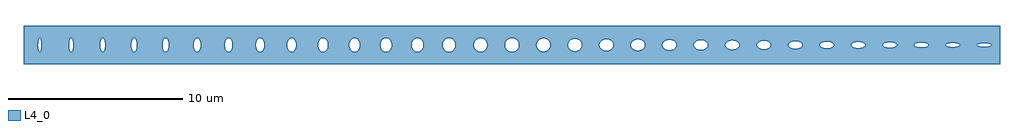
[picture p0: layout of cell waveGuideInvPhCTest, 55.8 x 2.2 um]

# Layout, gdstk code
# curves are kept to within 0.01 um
import gdstk
lib = gdstk.Library(unit=1e-6, precision=1e-09)
def P(c, l, *ps):  # polygons
    for p in ps: c.add(gdstk.Polygon(p, *l))
L4_0 = (4, 0)

waveguideinvphctest = lib.new_cell('waveGuideInvPhCTest')
P(waveguideinvphctest, L4_0, [(-32.9,2.9),(-32.9,3.6),(-31.984,3.605),(-31.929,3.717),(-31.9,4),(-31.911,4.182),(-31.941,4.324),(-31.984,4.395),(-32.016,4.395),(-32.059,4.324),(-32.081,4.235),(-32.099,3.937),(-32.059,3.676),(-32.031,3.62),(-32,3.6),(-32.9,3.6),(-32.9,5.1),(-31.1,5.1),(-31.1,2.9)],
  [(-31.1,2.9),(-31.1,3.601),(-30.191,3.601),(-30.156,3.628),(-30.112,3.728),(-30.08,4),(-30.092,4.174),(-30.125,4.313),(-30.173,4.39),(-30.209,4.399),(-30.244,4.372),(-30.288,4.272),(-30.32,4),(-30.288,3.728),(-30.244,3.628),(-30.209,3.601),(-31.1,3.601),(-31.1,5.1),(-29.3,5.1),(-29.3,2.9)],
  [(-29.3,2.9),(-29.3,3.6),(-28.38,3.604),(-28.324,3.663),(-28.294,3.738),(-28.26,4),(-28.273,4.166),(-28.308,4.302),(-28.361,4.384),(-28.42,4.396),(-28.476,4.337),(-28.506,4.262),(-28.534,4.113),(-28.539,3.943),(-28.492,3.698),(-28.458,3.636),(-28.4,3.6),(-29.3,3.6),(-29.3,5.1),(-27.5,5.1),(-27.5,2.9)],
  [(-27.5,2.9),(-27.5,3.601),(-26.567,3.608),(-26.526,3.645),(-26.476,3.748),(-26.44,4),(-26.463,4.208),(-26.508,4.327),(-26.567,4.392),(-26.633,4.392),(-26.692,4.327),(-26.737,4.208),(-26.759,3.946),(-26.737,3.792),(-26.709,3.708),(-26.654,3.623),(-26.611,3.601),(-27.5,3.601),(-27.5,5.1),(-25.7,5.1),(-25.7,2.9)],
  [(-25.7,2.9),(-25.7,3.6),(-24.777,3.603),(-24.71,3.654),(-24.657,3.756),(-24.62,4),(-24.644,4.2),(-24.69,4.317),(-24.753,4.386),(-24.823,4.397),(-24.89,4.346),(-24.943,4.244),(-24.98,4),(-24.966,3.847),(-24.927,3.717),(-24.869,3.63),(-24.8,3.6),(-25.7,3.6),(-25.7,5.1),(-23.9,5.1),(-23.9,2.9)],
  [(-23.9,2.9),(-23.9,3.601),(-22.963,3.607),(-22.893,3.662),(-22.854,3.726),(-22.814,3.853),(-22.8,4),(-22.814,4.147),(-22.873,4.308),(-22.915,4.362),(-22.963,4.393),(-23.037,4.393),(-23.107,4.338),(-23.146,4.274),(-23.186,4.147),(-23.2,4),(-23.186,3.853),(-23.146,3.726),(-23.085,3.638),(-23.013,3.601),(-23.9,3.601),(-23.9,5.1),(-22.1,5.1),(-22.1,2.9)],
  [(-22.1,2.9),(-22.1,3.6),(-21.2,3.6),(-21.147,3.612),(-21.075,3.671),(-21.035,3.735),(-20.994,3.858),(-20.98,4),(-21.005,4.186),(-21.075,4.329),(-21.122,4.374),(-21.173,4.397),(-21.253,4.388),(-21.325,4.329),(-21.381,4.227),(-21.414,4.096),(-21.418,3.952),(-21.395,3.814),(-21.346,3.701),(-21.278,3.626),(-21.2,3.6),(-22.1,3.6),(-22.1,5.1),(-20.3,5.1),(-20.3,2.9)],
  [(-20.3,2.9),(-20.3,3.601),(-19.358,3.606),(-19.28,3.654),(-19.216,3.743),(-19.174,3.863),(-19.16,4),(-19.174,4.137),(-19.235,4.291),(-19.331,4.383),(-19.386,4.399),(-19.442,4.394),(-19.52,4.346),(-19.584,4.257),(-19.626,4.137),(-19.64,4),(-19.626,3.863),(-19.565,3.709),(-19.495,3.633),(-19.414,3.601),(-20.3,3.601),(-20.3,5.1),(-18.5,5.1),(-18.5,2.9)],
  [(-18.5,2.9),(-18.5,3.6),(-17.542,3.61),(-17.462,3.661),(-17.397,3.751),(-17.355,3.868),(-17.34,4),(-17.366,4.174),(-17.438,4.313),(-17.542,4.39),(-17.658,4.39),(-17.762,4.313),(-17.82,4.213),(-17.853,4.089),(-17.858,3.955),(-17.834,3.826),(-17.784,3.717),(-17.686,3.622),(-17.6,3.6),(-18.5,3.6),(-18.5,5.1),(-16.7,5.1),(-16.7,2.9)],
  [(-16.7,2.9),(-16.7,3.601),(-15.785,3.601),(-15.725,3.615),(-15.643,3.669),(-15.577,3.758),(-15.535,3.872),(-15.52,4),(-15.546,4.168),(-15.619,4.305),(-15.696,4.372),(-15.755,4.395),(-15.875,4.385),(-15.957,4.331),(-16.023,4.242),(-16.065,4.128),(-16.078,3.957),(-16.04,3.794),(-15.981,3.695),(-15.904,3.628),(-15.815,3.601),(-16.7,3.601),(-16.7,5.1),(-14.9,5.1),(-14.9,2.9)],
  [(-14.9,2.9),(-14.9,3.6),(-13.938,3.609),(-13.85,3.654),(-13.777,3.732),(-13.726,3.837),(-13.7,4),(-13.726,4.163),(-13.799,4.297),(-13.907,4.38),(-13.969,4.398),(-14.062,4.391),(-14.176,4.324),(-14.243,4.235),(-14.285,4.124),(-14.298,3.958),(-14.26,3.8),(-14.201,3.703),(-14.093,3.62),(-14,3.6),(-14.9,3.6),(-14.9,5.1),(-13.1,5.1),(-13.1,2.9)],
  [(-13.1,2.9),(-13.1,3.601),(-12.184,3.601),(-12.12,3.613),(-12.004,3.684),(-11.937,3.771),(-11.895,3.88),(-11.88,4),(-11.92,4.194),(-12.004,4.316),(-12.12,4.387),(-12.184,4.399),(-12.28,4.387),(-12.396,4.316),(-12.463,4.229),(-12.513,4.081),(-12.513,3.919),(-12.463,3.771),(-12.396,3.684),(-12.311,3.625),(-12.184,3.601),(-13.1,3.601),(-13.1,5.1),(-11.3,5.1),(-11.3,2.9)],
  [(-11.3,2.9),(-11.3,3.6),(-10.4,3.6),(-10.301,3.617),(-10.211,3.667),(-10.137,3.746),(-10.086,3.847),(-10.06,4),(-10.1,4.189),(-10.137,4.254),(-10.211,4.333),(-10.301,4.383),(-10.367,4.398),(-10.499,4.383),(-10.589,4.333),(-10.683,4.222),(-10.725,4.116),(-10.738,3.961),(-10.7,3.811),(-10.616,3.691),(-10.53,3.63),(-10.4,3.6),(-11.3,3.6),(-11.3,5.1),(-9.5,5.1),(-9.5,2.9)],
  [(-9.5,2.9),(-9.5,3.6),(-8.583,3.6),(-8.515,3.611),(-8.391,3.674),(-8.317,3.753),(-8.266,3.851),(-8.24,4),(-8.28,4.183),(-8.339,4.276),(-8.391,4.326),(-8.515,4.389),(-8.583,4.4),(-8.685,4.389),(-8.809,4.326),(-8.903,4.216),(-8.945,4.113),(-8.958,3.962),(-8.934,3.851),(-8.861,3.724),(-8.75,3.636),(-8.617,3.6),(-9.5,3.6),(-9.5,5.1),(-7.7,5.1),(-7.7,2.9)],
  [(-7.7,2.9),(-7.7,3.6),(-6.8,3.6),(-6.696,3.615),(-6.6,3.66),(-6.497,3.759),(-6.446,3.856),(-6.42,4),(-6.426,4.073),(-6.46,4.178),(-6.571,4.319),(-6.663,4.373),(-6.73,4.393),(-6.8,4.4),(-6.904,4.385),(-7.029,4.319),(-7.123,4.211),(-7.174,4.073),(-7.174,3.927),(-7.123,3.789),(-7.056,3.704),(-6.937,3.627),(-6.8,3.6),(-7.7,3.6),(-7.7,5.1),(-5.9,5.1),(-5.9,2.9)],
  [(-5.9,2.9),(-5.9,3.6),(-4.982,3.6),(-4.876,3.62),(-4.751,3.687),(-4.676,3.765),(-4.614,3.894),(-4.6,4),(-4.614,4.106),(-4.64,4.174),(-4.751,4.313),(-4.911,4.39),(-5.018,4.4),(-5.124,4.38),(-5.249,4.313),(-5.343,4.205),(-5.394,4.071),(-5.394,3.929),(-5.343,3.795),(-5.249,3.687),(-5.157,3.632),(-5.018,3.6),(-5.9,3.6),(-5.9,5.1),(-4.1,5.1),(-4.1,2.9)],
  [(-4.1,2.9),(-4.1,3.62),(-3.2,3.62),(-3.091,3.635),(-2.989,3.677),(-2.881,3.771),(-2.815,3.896),(-2.8,4),(-2.815,4.104),(-2.842,4.169),(-2.904,4.256),(-2.959,4.303),(-3.127,4.374),(-3.309,4.365),(-3.441,4.303),(-3.54,4.2),(-3.593,4.07),(-3.593,3.93),(-3.54,3.8),(-3.469,3.719),(-3.344,3.646),(-3.2,3.62),(-4.1,3.62),(-4.1,5.1),(-2.3,5.1),(-2.3,2.9)],
  [(-2.3,2.9),(-2.3,3.64),(-1.381,3.64),(-1.269,3.66),(-1.138,3.728),(-1.063,3.805),(-1.016,3.899),(-1,4),(-1.007,4.068),(-1.044,4.165),(-1.086,4.223),(-1.168,4.293),(-1.269,4.34),(-1.343,4.356),(-1.419,4.36),(-1.531,4.34),(-1.662,4.272),(-1.737,4.195),(-1.793,4.068),(-1.793,3.932),(-1.737,3.805),(-1.662,3.728),(-1.531,3.66),(-1.419,3.64),(-2.3,3.64),(-2.3,5.1),(-0.5,5.1),(-0.5,2.9)],
  [(-0.5,2.9),(-0.5,3.66),(0.4,3.66),(0.516,3.675),(0.654,3.737),(0.733,3.811),(0.783,3.901),(0.8,4),(0.77,4.13),(0.733,4.189),(0.654,4.263),(0.589,4.3),(0.478,4.333),(0.4,4.34),(0.284,4.325),(0.146,4.263),(0.067,4.189),(0.017,4.099),(0.002,3.967),(0.047,3.84),(0.146,3.737),(0.247,3.686),(0.4,3.66),(-0.5,3.66),(-0.5,5.1),(1.3,5.1),(1.3,2.9)],
  [(1.3,2.9),(1.3,3.68),(2.3,3.69),(2.412,3.728),(2.504,3.792),(2.582,3.904),(2.6,4),(2.568,4.126),(2.504,4.208),(2.445,4.253),(2.3,4.31),(2.1,4.31),(1.988,4.272),(1.872,4.183),(1.818,4.096),(1.802,3.968),(1.832,3.874),(1.924,3.768),(2.061,3.7),(2.18,3.68),(1.3,3.68),(1.3,5.1),(3.1,5.1),(3.1,2.9)],
  [(3.1,2.9),(3.1,3.7),(4,3.7),(4.124,3.715),(4.235,3.757),(4.324,3.824),(4.38,3.907),(4.4,4),(4.38,4.093),(4.346,4.15),(4.235,4.243),(4.163,4.274),(4.042,4.298),(3.876,4.285),(3.765,4.243),(3.676,4.176),(3.62,4.093),(3.602,3.969),(3.635,3.878),(3.732,3.777),(3.837,3.726),(4,3.7),(3.1,3.7),(3.1,5.1),(4.9,5.1),(4.9,2.9)],
  [(4.9,2.9),(4.9,3.72),(5.907,3.73),(6.024,3.768),(6.118,3.831),(6.179,3.911),(6.2,4),(6.163,4.118),(6.09,4.193),(6.024,4.232),(5.865,4.276),(5.693,4.27),(5.576,4.232),(5.457,4.144),(5.409,4.06),(5.402,3.97),(5.437,3.882),(5.51,3.807),(5.652,3.74),(5.778,3.72),(4.9,3.72),(4.9,5.1),(6.7,5.1),(6.7,2.9)],
  [(6.7,2.9),(6.7,3.74),(7.6,3.74),(7.732,3.755),(7.813,3.78),(7.913,3.838),(7.978,3.914),(8,4),(7.978,4.086),(7.939,4.138),(7.813,4.22),(7.645,4.258),(7.468,4.245),(7.351,4.203),(7.261,4.138),(7.21,4.058),(7.21,3.942),(7.261,3.862),(7.351,3.797),(7.468,3.755),(7.6,3.74),(6.7,3.74),(6.7,5.1),(8.5,5.1),(8.5,2.9)],
  [(8.5,2.9),(8.5,3.76),(9.515,3.77),(9.639,3.807),(9.734,3.868),(9.776,3.918),(9.8,4),(9.789,4.055),(9.757,4.108),(9.639,4.193),(9.469,4.236),(9.285,4.23),(9.161,4.193),(9.066,4.132),(9.011,4.055),(9.003,3.972),(9.043,3.892),(9.126,3.825),(9.242,3.78),(9.377,3.76),(8.5,3.76),(8.5,5.1),(10.3,5.1),(10.3,2.9)],
  [(10.3,2.9),(10.3,3.78),(11.296,3.786),(11.427,3.819),(11.529,3.875),(11.574,3.922),(11.6,4),(11.574,4.078),(11.465,4.165),(11.296,4.214),(11.104,4.214),(10.973,4.181),(10.871,4.125),(10.812,4.053),(10.803,3.973),(10.846,3.898),(10.935,3.835),(11.058,3.794),(11.2,3.78),(10.3,3.78),(10.3,5.1),(12.1,5.1),(12.1,2.9)],
  [(12.1,2.9),(12.1,3.8),(13.124,3.81),(13.214,3.831),(13.324,3.882),(13.372,3.926),(13.4,4),(13.387,4.05),(13.351,4.096),(13.214,4.169),(13.025,4.2),(12.876,4.19),(12.786,4.169),(12.676,4.118),(12.613,4.05),(12.603,3.975),(12.628,3.926),(12.708,3.863),(12.83,3.819),(12.975,3.8),(12.1,3.8),(12.1,5.1),(13.9,5.1),(13.9,2.9)],
  [(13.9,2.9),(13.9,3.82),(14.904,3.826),(15.044,3.857),(15.117,3.89),(15.17,3.931),(15.2,4),(15.17,4.069),(15.044,4.143),(14.904,4.174),(14.696,4.174),(14.556,4.143),(14.483,4.11),(14.414,4.047),(14.403,3.977),(14.454,3.91),(14.556,3.857),(14.8,3.82),(13.9,3.82),(13.9,5.1),(15.7,5.1),(15.7,2.9)],
  [(15.7,2.9),(15.7,3.84),(16.734,3.849),(16.831,3.869),(16.942,3.917),(16.985,3.957),(17,4),(16.967,4.064),(16.831,4.131),(16.627,4.16),(16.466,4.151),(16.369,4.131),(16.258,4.083),(16.204,4.022),(16.204,3.978),(16.233,3.936),(16.327,3.883),(16.573,3.84),(15.7,3.84),(15.7,5.1),(17.5,5.1),(17.5,2.9)],
  [(17.5,2.9),(17.5,3.86),(18.513,3.866),(18.616,3.882),(18.737,3.924),(18.784,3.961),(18.8,4),(18.764,4.058),(18.662,4.106),(18.457,4.139),(18.287,4.134),(18.184,4.118),(18.063,4.076),(18.004,4.02),(18.004,3.98),(18.063,3.924),(18.138,3.894),(18.4,3.86),(17.5,3.86),(17.5,5.1),(19.3,5.1),(19.3,2.9)],
  [(19.3,2.9),(19.3,3.88),(20.346,3.888),(20.53,3.932),(20.582,3.965),(20.6,4),(20.56,4.052),(20.449,4.094),(20.23,4.12),(20.054,4.112),(19.87,4.068),(19.804,4.018),(19.804,3.982),(19.907,3.918),(20.17,3.88),(19.3,3.88),(19.3,5.1),(21.1,5.1),(21.1,2.9)],
  [(21.1,2.9),(21.1,3.9),(22.124,3.905),(22.324,3.941),(22.38,3.969),(22.4,4),(22.356,4.045),(22.235,4.081),(22.063,4.099),(21.876,4.095),(21.676,4.059),(21.605,4.016),(21.605,3.984),(21.717,3.929),(22,3.9),(21.1,3.9),(21.1,5.1),(22.9,5.1),(22.9,2.9)])

lib.write_gds('waveGuideInvPhCTest.gds')
